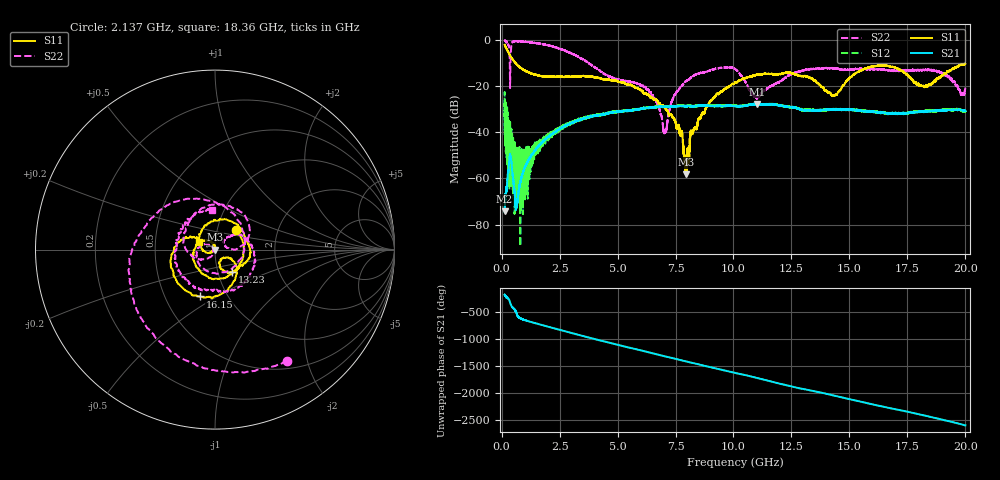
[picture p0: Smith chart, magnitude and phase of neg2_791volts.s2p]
!Created with skrf (http://scikit-rf.org).
# GHz S RI R 50.0
!freq ReS11 ImS11 ReS21 ImS21 ReS12 ImS12 ReS22 ImS22
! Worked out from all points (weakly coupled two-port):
!   20013 points, 130 MHz to 20 GHz, reference 50 ohm
!   highest |S21| = -27.73 dB at 11 GHz (marker M1); lowest = -74.3 dB at 130 MHz (marker M2)
!   lowest |S11| = -58.2 dB at 7.96 GHz (marker M3), VSWR 1.00, Z = 49.9 + j0.0337 ohm
!   |S11| at or under -10 dB: 605.8 MHz to end of sweep
!   |S22| runs from -40.6 to -0.1 dB; largest |S21 - S12| = 0.075
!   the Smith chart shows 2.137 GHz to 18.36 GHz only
!   S11 on the Smith chart (normalised r, x): 2.137 GHz: 1.23, +0.28; 13.23 GHz: 1.17, -0.30; 16.15 GHz: 0.74, -0.42; 18.36 GHz: 0.83, +0.07
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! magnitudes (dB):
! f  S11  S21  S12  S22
! 130 MHz  -2.0  -74.3  -33.4  -0.2
! 363 MHz  -6.6  -49.2  -41.9  -19.2
! 610 MHz  -10.0  -72.7  -56.8  -0.5
! 744 MHz  -11.4  -64.7  -57.3  -0.5
! 1.203 GHz  -14.1  -51.4  -52.0  -0.9
! 2.137 GHz  -15.8  -41.0  -41.8  -2.6
! 3.442 GHz  -15.7  -34.3  -34.1  -8.0
! 6.754 GHz  -27.1  -28.9  -29.1  -28.3
! 7.052 GHz  -29.6  -29.0  -29.0  -39.7
! 7.703 GHz  -41.4  -28.6  -28.5  -20.6
! 7.96 GHz  -58.2  -28.7  -28.6  -17.7
! 8.222 GHz  -40.8  -28.7  -28.7  -15.8
! 8.899 GHz  -28.2  -28.5  -28.6  -13.5
! 10.06 GHz  -18.3  -28.5  -28.6  -12.6
! 11 GHz  -15.0  -27.7  -27.7  -25.3
! 13.23 GHz  -16.0  -30.4  -30.4  -12.7
! 13.38 GHz  -16.5  -30.4  -30.4  -12.6
! 14.35 GHz  -24.0  -30.0  -30.0  -12.2
! 16.15 GHz  -11.2  -31.3  -31.0  -12.6
! 16.69 GHz  -11.3  -31.6  -31.8  -13.0
! 18.36 GHz  -20.0  -30.8  -30.8  -13.0
! 20 GHz  -10.2  -30.8  -30.6  -20.6
